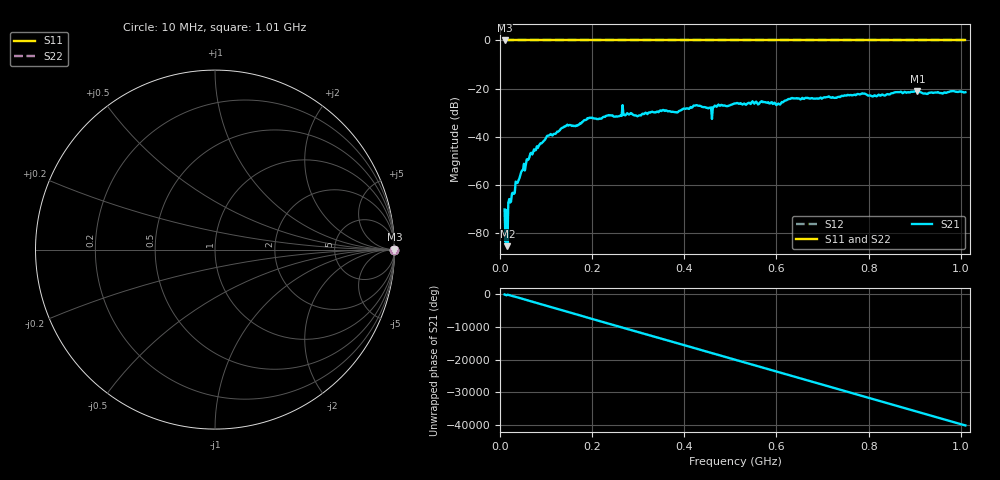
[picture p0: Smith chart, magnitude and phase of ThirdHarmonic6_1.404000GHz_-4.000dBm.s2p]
! 8/16/2025 4:03:40 PM
! C:\ANRITSUVNA\TEMP\TEMP.S2P
! CHANNEL.1
! TR.MEASUREMENT
! RAW.DATA
! RF.CORRECTION.OFF
! AVERAGING.OFF
! IF.BANDWIDTH: 5KHZ
! SWEEPTYPE:  FREQ.SWEEP(Linear)
! Reference Plane Port Info
! PORT:  PORT1  PORT2
! DISTANCE:  0  m  0  m
! TIME:  0  s  0  s
! PHASE.OFFSET:  0  deg.  0  deg.
! LOSS:  0  dB  0  dB
! REF.LOSS:  0  dB  0  dB
! REF.FREQ:  0  Hz  0  Hz
! Power Info
! POWER:  -20  dBm  -20  dBm
! EFF.POWER:  -20  dBm  -20  dBm
! SOURCE.ATTEN:  0  dB  0  dB
! TEST.ATTEN:  0  dB  0  dB
# GHZ S RI R 50.0
! FREQ.GHZ  S11RE  S11IM  S21RE  S21IM  S12RE  S12IM  S22RE  S22IM
!; PortSelection: Port_12
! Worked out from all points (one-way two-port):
!   501 points, 10 MHz to 1.01 GHz, reference 50 ohm
!   highest |S21| = -20.96 dB at 906 MHz (marker M1); lowest = -85.5 dB at 16 MHz (marker M2)
!   lowest |S11| = 0.0 dB at 10 MHz (marker M3)
!   |S11| at or under -10 dB: nowhere
!   |S22| runs from 0.0 to 0.0 dB; largest |S21 - S12| = 1.1
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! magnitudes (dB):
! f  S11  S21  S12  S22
! 10 MHz  0.0  -70.2  0.0  0.0
! 12 MHz  0.0  -83.7  0.0  0.0
! 16 MHz  0.0  -85.5  0.0  0.0
! 22 MHz  0.0  -67.3  0.0  0.0
! 48 MHz  0.0  -54.0  0.0  0.0
! 70 MHz  0.0  -47.4  0.0  0.0
! 106 MHz  0.0  -39.5  0.0  0.0
! 178 MHz  0.0  -33.9  0.0  0.0
! 270 MHz  0.0  -30.9  0.0  0.0
! 300 MHz  0.0  -31.3  0.0  0.0
! 344 MHz  0.0  -29.8  0.0  0.0
! 382 MHz  0.0  -29.8  0.0  0.0
! 424 MHz  0.0  -27.0  0.0  0.0
! 456 MHz  0.0  -28.1  0.0  0.0
! 470 MHz  0.0  -27.6  0.0  0.0
! 510 MHz  0.0  -26.2  0.0  0.0
! 604 MHz  0.0  -26.2  0.0  0.0
! 630 MHz  0.0  -24.3  0.0  0.0
! 678 MHz  0.0  -24.0  0.0  0.0
! 844 MHz  0.0  -22.4  0.0  0.0
! 906 MHz  0.0  -21.0  0.0  0.0
! 1.01 GHz  0.0  -21.5  0.0  0.0
